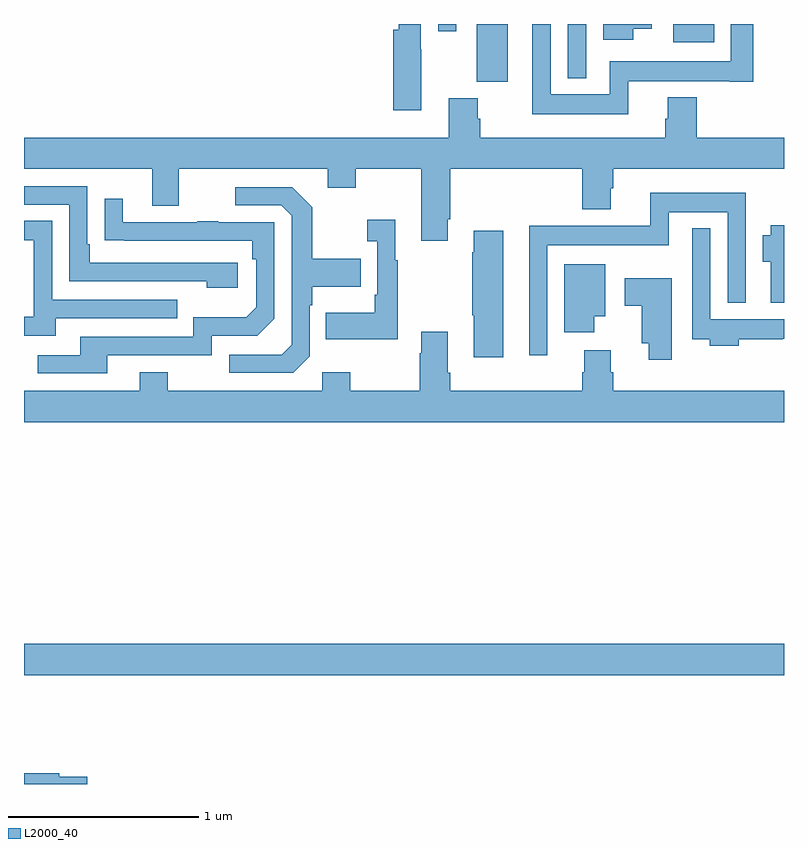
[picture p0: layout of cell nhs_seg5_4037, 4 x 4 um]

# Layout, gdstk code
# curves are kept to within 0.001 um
import gdstk
lib = gdstk.Library(unit=1e-6, precision=1e-09)
def R(c, l, rs):  # rectangles x0, y0, x1, y1
    for r in rs: c.add(gdstk.rectangle(r[:2], r[2:], *l))
def P(c, l, *ps):  # polygons
    for p in ps: c.add(gdstk.Polygon(p, *l))
L2000_40 = (2000, 40)

nhs_seg5_4037 = lib.new_cell('nhs_seg5_4037')
R(nhs_seg5_4037, L2000_40, [(347,911.372,351,911.536), (349.382,914.494,349.546,914.799), (349.863,914.513,349.959,914.799), (350.417,914.702,350.632,914.799), (349.179,914.76,349.275,914.799)])
P(nhs_seg5_4037, L2000_40, [(349.09,914.666),(349.089,914.666),(349.089,914.799),(348.973,914.799),(348.973,914.77),(348.944,914.77),(348.944,914.346),(349.09,914.346)],
  [(350.18,914.498),(350.714,914.498),(350.714,914.496),(350.837,914.496),(350.837,914.799),(350.721,914.799),(350.721,914.602),(350.082,914.602),(350.082,914.428),(349.773,914.428),(349.773,914.799),(349.676,914.799),(349.676,914.324),(350.18,914.324)],
  [(350.206,914.774),(350.305,914.774),(350.305,914.799),(350.048,914.799),(350.048,914.715),(350.206,914.715)],
  [(349.231,913.771),(349.244,913.771),(349.244,914.036),(349.937,914.036),(349.937,913.823),(350.089,913.823),(350.089,913.935),(350.102,913.935),(350.102,914.036),(351,914.036),(351,914.2),(350.54,914.2),(350.54,914.413),(350.387,914.413),(350.387,914.301),(350.375,914.301),(350.375,914.2),(349.4,914.2),(349.4,914.3),(349.387,914.3),(349.387,914.409),(349.235,914.409),(349.235,914.2),(347,914.2),(347,914.036),(347.675,914.036),(347.675,913.842),(347.815,913.842),(347.815,914.036),(348.599,914.036),(348.599,913.937),(348.747,913.937),(348.747,914.036),(349.091,914.036),(349.091,913.659),(349.231,913.659)],
  [(348.124,913.542),(347.347,913.542),(347.347,913.639),(347.334,913.639),(347.334,913.944),(347,913.944),(347,913.848),(347.238,913.848),(347.238,913.446),(347.963,913.446),(347.963,913.412),(348.124,913.412)],
  [(348.504,913.05),(348.504,913.319),(348.517,913.319),(348.517,913.415),(348.773,913.415),(348.773,913.563),(348.517,913.563),(348.517,913.835),(348.411,913.941),(348.111,913.941),(348.111,913.845),(348.354,913.845),(348.408,913.791),(348.408,913.11),(348.357,913.059),(348.081,913.059),(348.081,912.963),(348.417,912.963)],
  [(349.755,913.634),(350.394,913.634),(350.394,913.808),(350.703,913.808),(350.703,913.331),(350.799,913.331),(350.799,913.912),(350.297,913.912),(350.297,913.738),(349.658,913.738),(349.658,913.056),(349.755,913.056)],
  [(347.437,913.056),(347.988,913.056),(347.988,913.158),(348.228,913.158),(348.318,913.248),(348.318,913.755),(348.023,913.755),(348.023,913.76),(347.911,913.76),(347.911,913.755),(347.521,913.755),(347.521,913.879),(347.425,913.879),(347.425,913.66),(348.202,913.659),(348.202,913.562),(348.222,913.562),(348.222,913.308),(348.169,913.255),(347.892,913.255),(347.892,913.152),(347.297,913.152),(347.297,913.056),(347.073,913.056),(347.073,912.96),(347.437,912.96)],
  [(348.967,913.555),(348.955,913.555),(348.955,913.768),(348.807,913.768),(348.807,913.655),(348.858,913.655),(348.858,913.375),(348.846,913.375),(348.846,913.279),(348.589,913.279),(348.589,913.139),(348.967,913.139)],
  [(347.167,913.251),(347.807,913.251),(347.807,913.347),(347.148,913.347),(347.148,913.763),(347,913.763),(347,913.662),(347.052,913.662),(347.052,913.257),(347,913.257),(347,913.157),(347.167,913.157)],
  [(351,913.74),(350.93,913.74),(350.93,913.686),(350.888,913.686),(350.888,913.549),(350.93,913.549),(350.93,913.332),(351,913.332)],
  [(350.762,913.14),(350.993,913.14),(350.993,913.142),(351,913.142),(351,913.246),(350.613,913.246),(350.613,913.723),(350.517,913.723),(350.517,913.14),(350.609,913.14),(350.609,913.106),(350.762,913.106)],
  [(349.522,913.711),(349.367,913.711),(349.367,913.598),(349.36,913.598),(349.36,913.267),(349.367,913.267),(349.367,913.044),(349.522,913.044)],
  [(350.002,913.262),(350.059,913.262),(350.059,913.534),(349.844,913.534),(349.844,913.176),(350.002,913.176)],
  [(350.41,913.462),(350.163,913.462),(350.163,913.315),(350.252,913.315),(350.252,913.118),(350.288,913.118),(350.288,913.032),(350.41,913.032)],
  [(351,912.868),(350.102,912.868),(350.102,912.966),(350.089,912.966),(350.089,913.081),(349.949,913.081),(349.949,912.966),(349.937,912.966),(349.937,912.868),(349.244,912.868),(349.244,912.964),(349.231,912.964),(349.231,913.18),(349.091,913.18),(349.091,913.067),(349.084,913.067),(349.084,912.868),(348.717,912.868),(348.717,912.967),(348.57,912.967),(348.57,912.868),(347.757,912.868),(347.757,912.967),(347.609,912.967),(347.609,912.868),(347,912.868),(347,912.704),(351,912.704)],
  [(347.333,910.836),(347.186,910.836),(347.186,910.856),(347,910.856),(347,910.799),(347.333,910.799)])

lib.write_gds('nhs_seg5_4037.gds')
